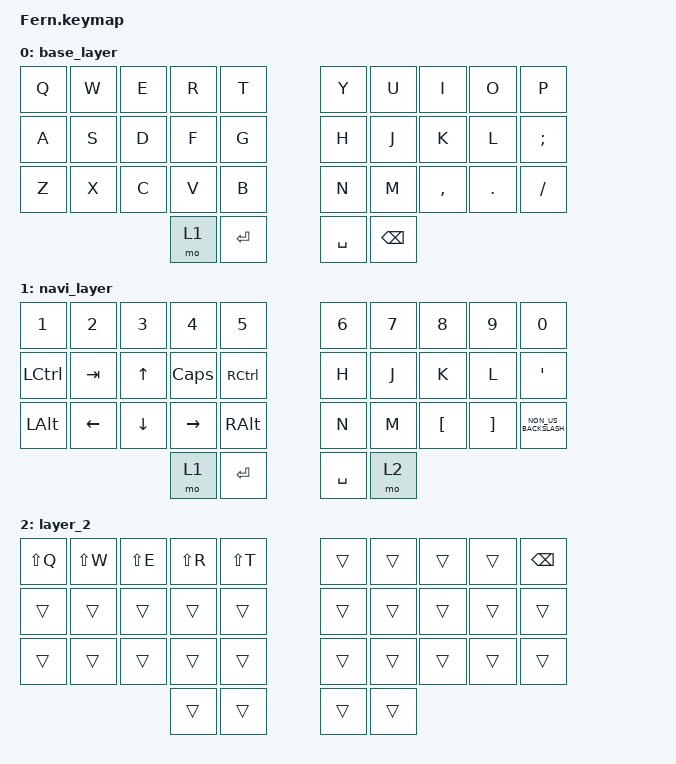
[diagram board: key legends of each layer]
/*
 * Copyright (c) 2022 The ZMK Contributors
 *
 * SPDX-License-Identifier: MIT
 */

#include <behaviors.dtsi>
#include <dt-bindings/zmk/keys.h>

#define BASE 0
#define NAVI 1

/ {
    keymap {
        compatible = "zmk,keymap";
        label = "BASE";

        base_layer {
            bindings = <
&kp Q  &kp W  &kp E  &kp R  &kp T      &kp Y      &kp U          &kp I      &kp O       &kp P
&kp A  &kp S  &kp D  &kp F  &kp G      &kp H      &kp J          &kp K      &kp L       &kp SEMI
&kp Z  &kp X  &kp C  &kp V  &kp B      &kp N      &kp M          &kp COMMA  &kp PERIOD  &kp SLASH
                     &mo 1  &kp ENTER  &kp SPACE  &kp BACKSPACE
            >;
        };

        label = "NAVI";

        navi_layer {
            bindings = <
&kp N1            &kp N2    &kp N3          &kp N4        &kp N5             &kp N6     &kp N7  &kp N8            &kp N9             &kp N0
&kp LEFT_CONTROL  &kp TAB   &kp UP_ARROW    &kp CAPSLOCK  &kp RIGHT_CONTROL  &kp H      &kp J   &kp K             &kp L              &kp SQT
&kp LEFT_ALT      &kp LEFT  &kp DOWN_ARROW  &kp RIGHT     &kp RIGHT_ALT      &kp N      &kp M   &kp LEFT_BRACKET  &kp RIGHT_BRACKET  &kp NON_US_BACKSLASH
                                            &mo 1         &kp ENTER          &kp SPACE  &mo 2
            >;
        };

        layer_2 {
            bindings = <
&kp LS(Q)  &kp LS(W)  &kp LS(E)  &kp LS(R)  &kp LS(T)  &trans  &trans  &trans  &trans  &kp BACKSPACE
&trans     &trans     &trans     &trans     &trans     &trans  &trans  &trans  &trans  &trans
&trans     &trans     &trans     &trans     &trans     &trans  &trans  &trans  &trans  &trans
                                 &trans     &trans     &trans  &trans
            >;
        };
    };
};
